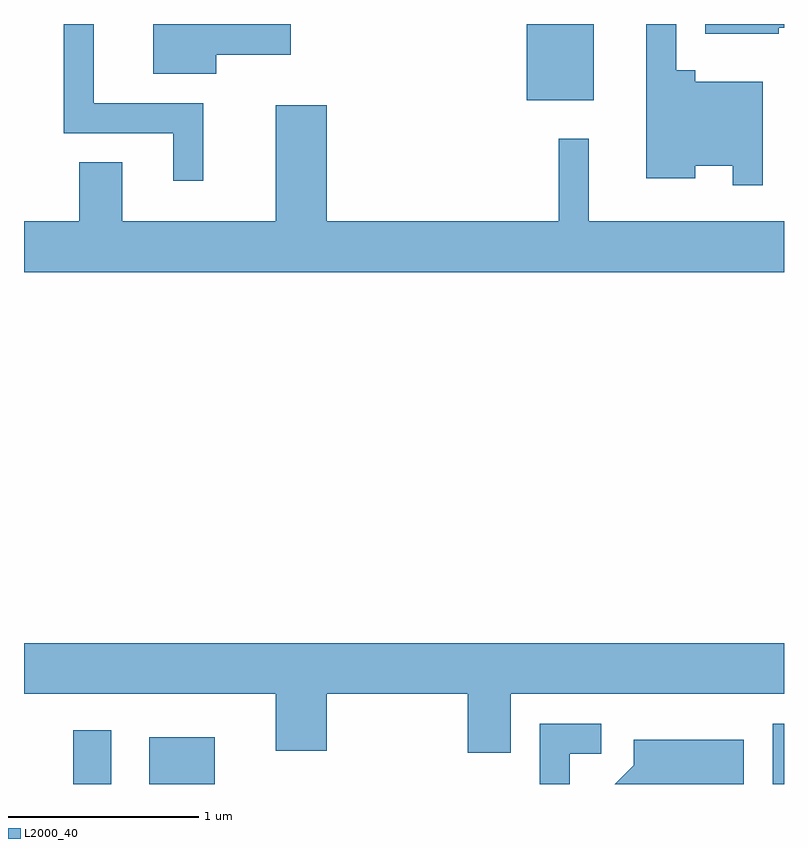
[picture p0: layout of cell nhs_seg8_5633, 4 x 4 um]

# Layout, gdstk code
import gdstk
lib = gdstk.Library(unit=1e-6, precision=1e-09)
def R(c, l, rs):  # rectangles x0, y0, x1, y1
    for r in rs: c.add(gdstk.rectangle(r[:2], r[2:], *l))
def P(c, l, *ps):  # polygons
    for p in ps: c.add(gdstk.Polygon(p, *l))
L2000_40 = (2000, 40)

nhs_seg8_5633 = lib.new_cell('nhs_seg8_5633')
R(nhs_seg8_5633, L2000_40, [(353.871,1880.342,354.069,1880.624), (354.271,1880.342,354.614,1880.589), (357.551,1880.342,357.611,1880.659), (356.256,1883.941,356.609,1884.342)])
P(nhs_seg8_5633, L2000_40, [(357.499,1884.039),(357.144,1884.039),(357.144,1884.099),(357.044,1884.099),(357.044,1884.342),(356.886,1884.342),(356.886,1883.531),(357.144,1883.531),(357.144,1883.596),(357.341,1883.596),(357.341,1883.493),(357.499,1883.493)],
  [(354.554,1883.924),(353.979,1883.924),(353.979,1884.342),(353.821,1884.342),(353.821,1883.766),(354.396,1883.766),(354.396,1883.518),(354.554,1883.518)],
  [(354.624,1884.181),(355.014,1884.181),(355.014,1884.342),(354.291,1884.342),(354.291,1884.081),(354.624,1884.081)],
  [(357.584,1884.321),(357.611,1884.321),(357.611,1884.342),(357.196,1884.342),(357.196,1884.291),(357.584,1884.291)],
  [(357.611,1883.304),(356.584,1883.304),(356.584,1883.738),(356.426,1883.738),(356.426,1883.304),(355.204,1883.304),(355.204,1883.914),(354.936,1883.914),(354.936,1883.304),(354.129,1883.304),(354.129,1883.614),(353.901,1883.614),(353.901,1883.304),(353.611,1883.304),(353.611,1883.036),(357.611,1883.036)],
  [(356.174,1880.816),(357.611,1880.816),(357.611,1881.084),(353.611,1881.084),(353.611,1880.816),(354.936,1880.816),(354.936,1880.516),(355.204,1880.516),(355.204,1880.816),(355.946,1880.816),(355.946,1880.506),(356.174,1880.506)],
  [(356.484,1880.501),(356.648,1880.501),(356.648,1880.659),(356.326,1880.659),(356.326,1880.342),(356.484,1880.342)],
  [(357.399,1880.574),(356.821,1880.574),(356.821,1880.442),(356.721,1880.342),(357.399,1880.342)])

lib.write_gds('nhs_seg8_5633.gds')
